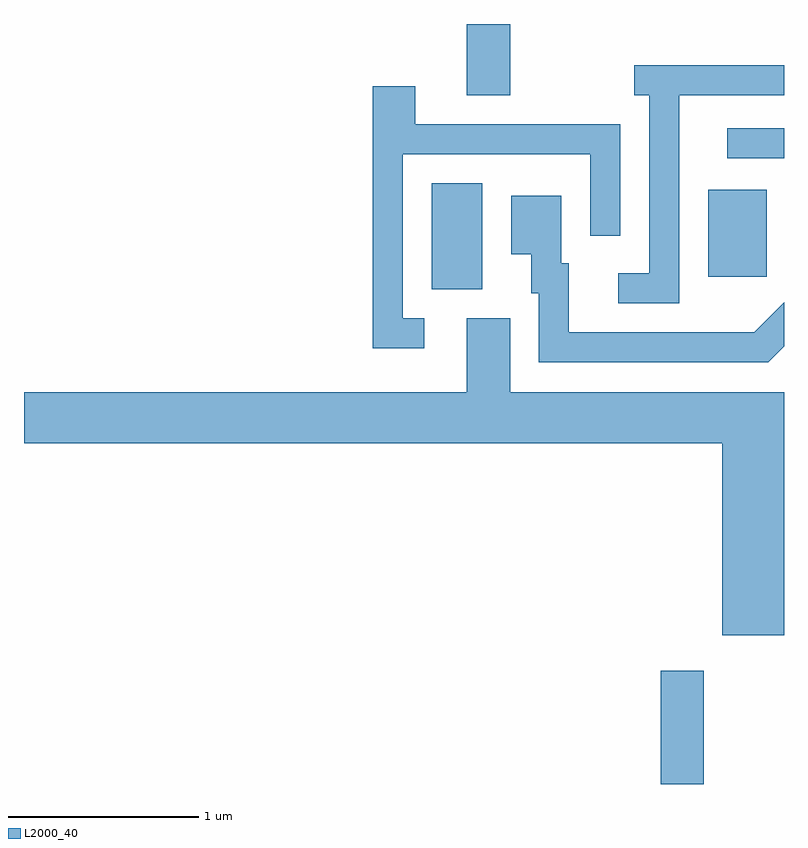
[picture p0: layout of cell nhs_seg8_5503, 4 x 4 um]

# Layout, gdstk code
import gdstk
lib = gdstk.Library(unit=1e-6, precision=1e-09)
def R(c, l, rs):  # rectangles x0, y0, x1, y1
    for r in rs: c.add(gdstk.rectangle(r[:2], r[2:], *l))
def P(c, l, *ps):  # polygons
    for p in ps: c.add(gdstk.Polygon(p, *l))
L2000_40 = (2000, 40)

nhs_seg8_5503 = lib.new_cell('nhs_seg8_5503')
R(nhs_seg8_5503, L2000_40, [(352.961,1892.342,353.189,1892.939), (351.756,1894.946,352.024,1895.504), (353.211,1895.011,353.519,1895.469), (353.313,1895.636,353.611,1895.794), (351.941,1895.966,352.169,1896.342)])
P(nhs_seg8_5503, L2000_40, [(353.059,1895.966),(353.611,1895.966),(353.611,1896.124),(352.823,1896.124),(352.823,1895.966),(352.901,1895.966),(352.901,1895.029),(352.738,1895.029),(352.738,1894.871),(353.059,1894.871)],
  [(351.718,1894.794),(351.604,1894.794),(351.604,1895.656),(352.591,1895.656),(352.591,1895.228),(352.749,1895.228),(352.749,1895.814),(351.669,1895.814),(351.669,1896.014),(351.446,1896.014),(351.446,1894.636),(351.718,1894.636)],
  [(353.611,1894.645),(353.611,1894.877),(353.454,1894.719),(352.479,1894.719),(352.479,1895.084),(352.439,1895.084),(352.439,1895.439),(352.176,1895.439),(352.176,1895.131),(352.281,1895.131),(352.281,1894.926),(352.321,1894.926),(352.321,1894.561),(353.527,1894.561)],
  [(353.611,1894.404),(352.169,1894.404),(352.169,1894.794),(351.941,1894.794),(351.941,1894.404),(349.611,1894.404),(349.611,1894.136),(353.286,1894.136),(353.286,1893.126),(353.611,1893.126)])

lib.write_gds('nhs_seg8_5503.gds')
